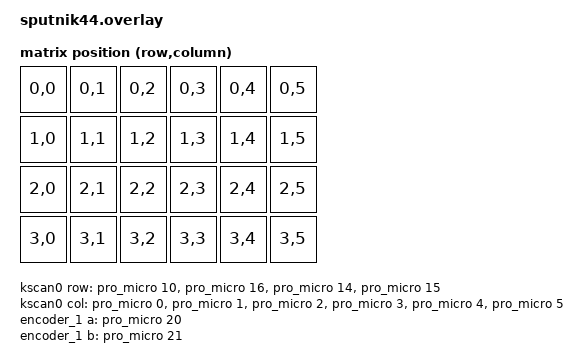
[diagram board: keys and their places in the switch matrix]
/*
 * Copyright (c) 2024 The ZMK Contributors
 * SPDX-License-Identifier: MIT
 */

#include <zephyr/dt-bindings/input/input-event-codes.h>

// Ensure the ADC controller is enabled. For nice_nano_v2, this is &adc.
&adc {
    status = "okay";
};

/ {
    chosen {
        zmk,kscan = &kscan0;
        zmk,matrix_transform = &default_transform;
        // zmk,underglow = &led_strip; // Uncomment if using underglow
        zmk,pointing_device = &analog_joystick; // Change if using a different primary pointing device
    };

    kscan0: kscan {
        compatible = "zmk,kscan-gpio-matrix";
        label = "KSCAN";
        wait-for-setup;
        debounce-period = <5>; // Debounce time in milliseconds

        col-gpios
            = <&pro_micro 0 (GPIO_ACTIVE_HIGH | GPIO_PULL_DOWN)> // COL0
            , <&pro_micro 1 (GPIO_ACTIVE_HIGH | GPIO_PULL_DOWN)> // COL1
            , <&pro_micro 2 (GPIO_ACTIVE_HIGH | GPIO_PULL_DOWN)> // COL2
            , <&pro_micro 3 (GPIO_ACTIVE_HIGH | GPIO_PULL_DOWN)> // COL3
            , <&pro_micro 4 (GPIO_ACTIVE_HIGH | GPIO_PULL_DOWN)> // COL4
            , <&pro_micro 5 (GPIO_ACTIVE_HIGH | GPIO_PULL_DOWN)> // COL5
            ;

        row-gpios
            = <&pro_micro 10 GPIO_ACTIVE_HIGH> // ROW0
            , <&pro_micro 16 GPIO_ACTIVE_HIGH> // ROW1
            , <&pro_micro 14 GPIO_ACTIVE_HIGH> // ROW2
            , <&pro_micro 15 GPIO_ACTIVE_HIGH> // ROW3
            ;
    };

    default_transform: keymap_transform_0 {
        compatible = "zmk,matrix-transform";
        columns = <6>;
        rows = <4>;
        map = <
            RC(0,0) RC(0,1) RC(0,2) RC(0,3) RC(0,4) RC(0,5)
            RC(1,0) RC(1,1) RC(1,2) RC(1,3) RC(1,4) RC(1,5)
            RC(2,0) RC(2,1) RC(2,2) RC(2,3) RC(2,4) RC(2,5)
            RC(3,0) RC(3,1) RC(3,2) RC(3,3) RC(3,4) RC(3,5)
        >;
    };

    // Optional: Encoder
    encoder_1: encoder_1 {
        compatible = "alps,ec11";
        label = "ENCODER_1";
        a-gpios = <&pro_micro 20 (GPIO_ACTIVE_HIGH | GPIO_PULL_UP)>;
        b-gpios = <&pro_micro 21 (GPIO_ACTIVE_HIGH | GPIO_PULL_UP)>;
        steps = <80>; // Adjust steps per rotation as needed
        status = "disabled"; // Initially disabled, enabled by device_detector
    };

    // Device Detector Node
    zmk_device_detector_node: zmk_device_detector {
        compatible = "zmk,device-detector";
        status = "okay";
        adc = <&adc>; // Corrected ADC reference for nice!nano
        adc-channel = <0>; // Detection ADC channel - Pin A0 on nice!nano (P0.04)
        // This adc-channel is for DEVICE TYPE DETECTION, not for joystick axes etc.
        poll-interval-ms = <500>;
        adc-vref-mv = <3300>;
        adc-resolution = <10>;

        // Voltage ranges for device detection (in mV)
        joystick-voltage = <0 800>;       // Min_mV Max_mV for Joystick
        trackball-voltage = <801 1600>;   // Min_mV Max_mV for Trackball
        encoder-voltage = <1601 2400>;    // Min_mV Max_mV for Encoder

        // Phandles to the actual device nodes to be controlled
        controlled-joystick = <&analog_joystick>;
        controlled-trackball = <&pmw3610_trackball>; // Points to the PMW3610 trackball node
        controlled-encoder = <&encoder_1>; // EC11 encoder
    };

    // Analog Joystick Device Node (using zmk-analog-input driver)
    analog_joystick: joystick_device { // Changed label to analog_joystick for clarity
        compatible = "zmk,analog-input";
        status = "disabled"; // Initially disabled, enabled by device_detector
        // status = "okay"; // For testing without device_detector
        label = "ANALOG_JOYSTICK";
        input-type = "absolute"; // or "relative"
        scale-multiplier = <1>;
        scale-divisor = <70>; // Adjust for sensitivity
        report-on-change-only; // Only report if value changes

        x_channel: x_channel {
            io-channels = <&adc 29>; // P0.29 for nice!nano X-axis (e.g. A1)
            mv-mid = <1650>;       // Calibrated middle voltage for X-axis (in mV)
            mv-min-max = <1600>;   // Max deviation from mid (e.g., (3300/2) - deadzone)
            mv-deadzone = <50>;    // Deadzone in mV around mid
            // invert;             // Uncomment if X-axis is inverted
            evt-type = <INPUT_EV_REL>; // Relative event
            input-code = <INPUT_REL_X>;  // X-axis relative code
        };

        y_channel: y_channel {
            io-channels = <&adc 2>; // P0.02 for nice!nano Y-axis (e.g. A2)
            mv-mid = <1650>;       // Calibrated middle voltage for Y-axis
            mv-min-max = <1600>;
            mv-deadzone = <50>;
            // invert;             // Uncomment if Y-axis is inverted
            evt-type = <INPUT_EV_REL>; // Relative event
            input-code = <INPUT_REL_Y>;  // Y-axis relative code
        };
    };

    // PMW3610 Trackball Device Node
    pmw3610_trackball: pmw3610_trackball {
        compatible = "pixart,pmw3610";
        status = "disabled"; // Initially disabled, enabled by device_detector
        // status = "okay"; // For testing without device_detector
        label = "PMW3610_TRACKBALL";
        spi = <&spi1>; // TODO: Replace &spi1 with your actual SPI controller
        cs-gpios = <&pro_micro 17 (GPIO_ACTIVE_LOW | GPIO_PULL_UP)>; // TODO: Replace with actual CS pin
        irq-gpios = <&pro_micro 18 (GPIO_ACTIVE_LOW | GPIO_PULL_UP)>; // TODO: Replace with actual IRQ pin
        cpi = <800>; // Default CPI, can be overridden by Kconfig
        evt-type = <INPUT_EV_REL>;    // 0x02 for EV_REL from linux/input-event-codes.h
        x-input-code = <INPUT_REL_X>; // 0x00 for REL_X
        y-input-code = <INPUT_REL_Y>; // 0x01 for REL_Y
        // force-awake; // Uncomment if you want the sensor to never sleep
    };

};

// SPI1 for trackball
&spi1 {
    status = "okay";
    // Default SPI config for nice!nano v2
    compatible = "nordic,nrf-spim";
    // These pin assignments can be customized if needed
    pinctrl-0 = <&spi1_default>;
    pinctrl-1 = <&spi1_sleep>;
    pinctrl-names = "default", "sleep";
};
